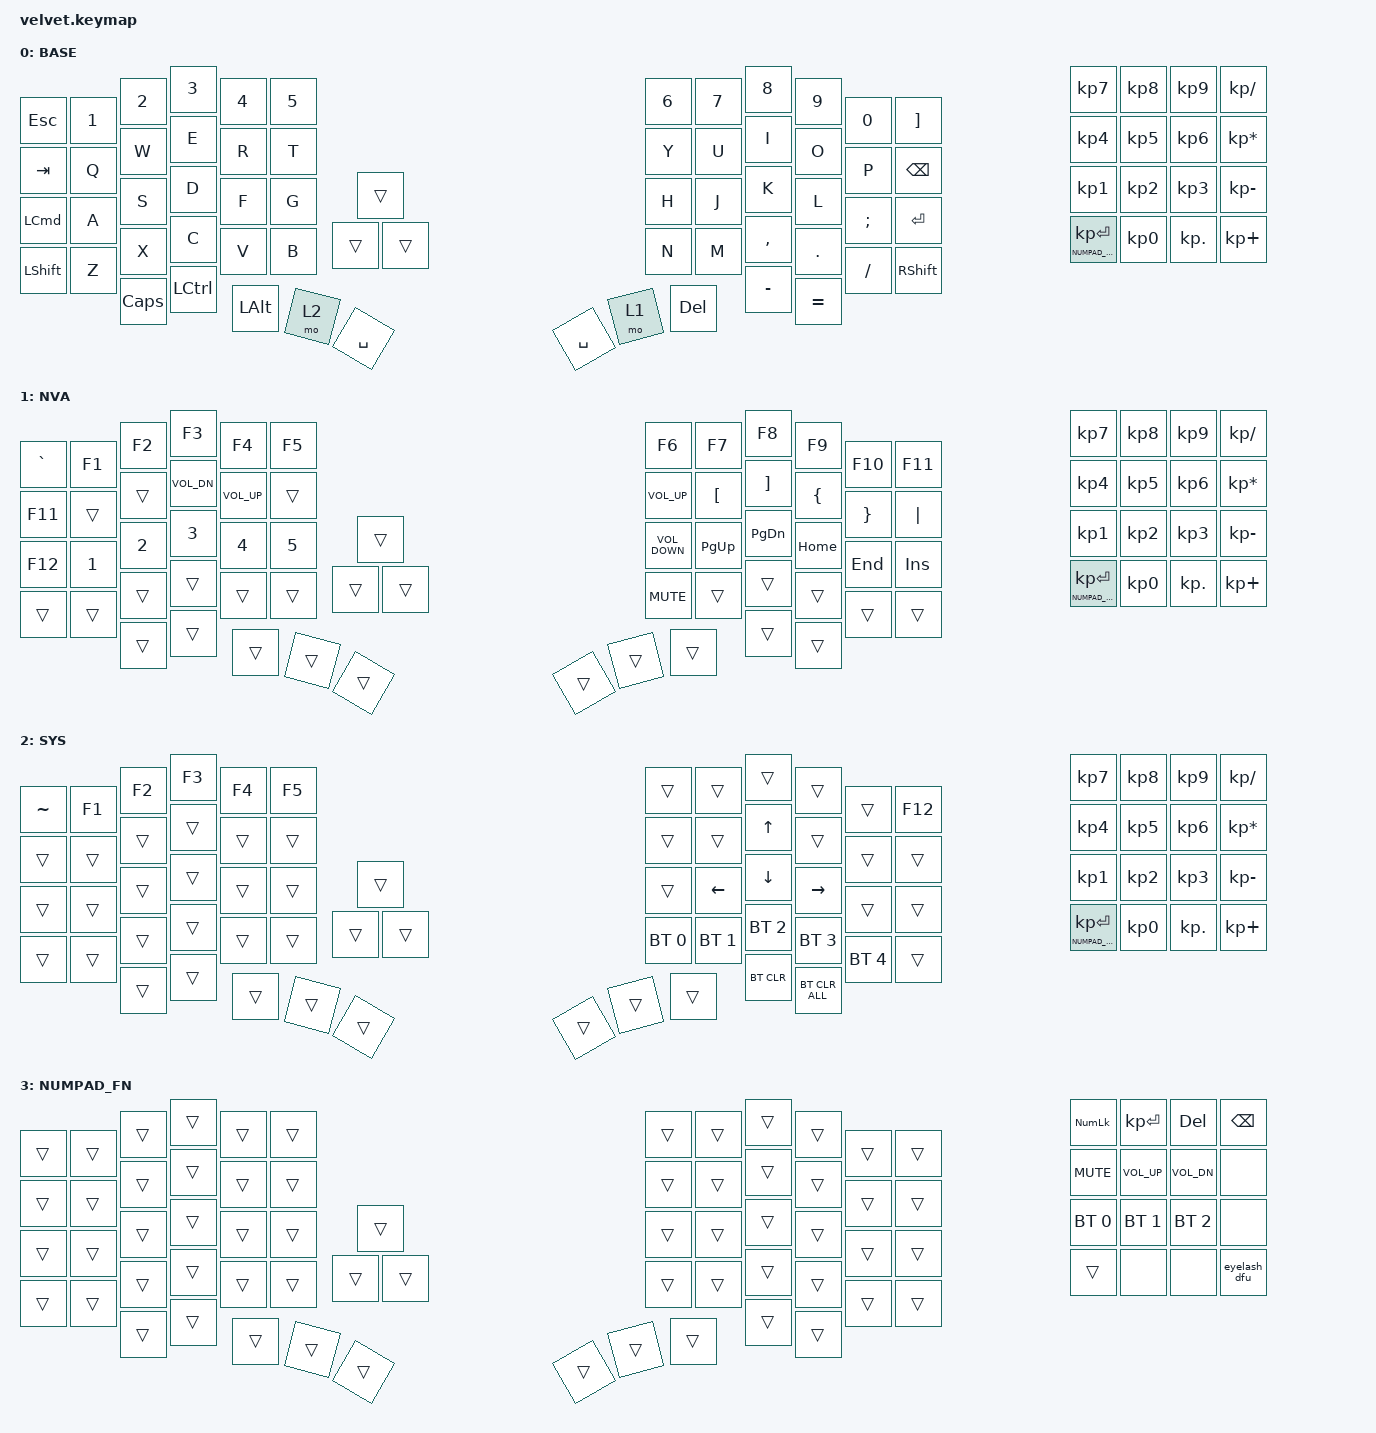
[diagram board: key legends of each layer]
#define BASE 0
#define LOWER 1
#define NUMPAD_FN 3

#include <behaviors/runtime_macro.dtsi>
#include <behaviors.dtsi>
#include <behaviors/eyelash_dfu.dtsi>
#include <dt-bindings/zmk/bt.h>
#include <dt-bindings/zmk/keys.h>

/ {
    behaviors {
        ltq: ltq {
            compatible = "zmk,behavior-hold-tap";
            label = "LTQ";
            bindings = <&mo>, <&kp>;

            #binding-cells = <2>;
            tapping-term-ms = <200>;
            quick-tap-ms = <180>;
        };
        td_m_pwd: td_m_pwd {
            compatible = "zmk,behavior-tap-dance";
            label = "TD_M_PWD";
            #binding-cells = <0>;

            // 1 tap: m
            // 2 taps: password + Enter
            bindings = <&kp M>, <&none>;

            tapping-term-ms = <200>;
        };
    };

    combos {
        compatible = "zmk,combos";

        flash {
            bindings = <&bootloader>;
            key-positions = <0 11>;
        };
    };


    keymap {
        compatible = "zmk,keymap";

        BASE {
            bindings = <
&kp ESC    &kp N1        &kp N2            &kp N3        &kp N4  &kp N5                &kp NUMBER_6  &kp N7  &kp N8      &kp N9     &kp N0     &kp RIGHT_BRACKET
&kp TAB    &kp Q         &kp W             &kp E         &kp R   &kp T      &trans     &kp Y         &kp U   &kp I       &kp O      &kp P      &kp BACKSPACE
&kp LCMD   &kp A         &kp S             &kp D         &kp F   &kp G      &trans     &kp H         &kp J   &kp K       &kp L      &kp SEMI   &kp ENTER
&kp LSHFT  &kp Z         &kp X             &kp C         &kp V   &kp B      &trans     &kp N         &kp M   &kp COMMA   &kp DOT    &kp SLASH  &kp RIGHT_SHIFT
           &kp CAPSLOCK  &kp LEFT_CONTROL  &kp LEFT_ALT  &mo 2   &kp SPACE             &kp SPACE     &mo 1   &kp DELETE  &kp MINUS  &kp EQUAL

                /* Numpad 61..76: identical on all existing Velvet layers. */
                &kp KP_N7 &kp KP_N8 &kp KP_N9 &kp KP_DIVIDE
                &kp KP_N4 &kp KP_N5 &kp KP_N6 &kp KP_MULTIPLY
                &kp KP_N1 &kp KP_N2 &kp KP_N3 &kp KP_MINUS
                &lt NUMPAD_FN KP_ENTER &kp KP_N0 &kp KP_DOT &kp KP_PLUS
            >;

            label = "BASE";
        };

        NVA {
            bindings = <
&kp GRAVE  &kp F1  &kp F2  &kp F3        &kp F4           &kp F5          &kp F6             &kp F7            &kp F8             &kp F9          &kp F10          &kp F11
&kp F11    &trans  &trans  &kp C_VOL_DN  &kp C_VOLUME_UP  &trans  &trans  &kp C_VOLUME_UP    &kp LEFT_BRACKET  &kp RIGHT_BRACKET  &kp LEFT_BRACE  &kp RIGHT_BRACE  &kp PIPE
&kp F12    &kp N1  &kp N2  &kp N3        &kp N4           &kp N5  &trans  &kp C_VOLUME_DOWN  &kp PAGE_UP       &kp PAGE_DOWN      &kp HOME        &kp END          &kp INSERT
&trans     &trans  &trans  &trans        &trans           &trans  &trans  &kp C_MUTE         &trans            &trans             &trans          &trans           &trans
           &trans  &trans  &trans        &trans           &trans          &trans             &trans            &trans             &trans          &trans

                /* Numpad 61..76: identical on all existing Velvet layers. */
                &kp KP_N7 &kp KP_N8 &kp KP_N9 &kp KP_DIVIDE
                &kp KP_N4 &kp KP_N5 &kp KP_N6 &kp KP_MULTIPLY
                &kp KP_N1 &kp KP_N2 &kp KP_N3 &kp KP_MINUS
                &lt NUMPAD_FN KP_ENTER &kp KP_N0 &kp KP_DOT &kp KP_PLUS
            >;

        };

        SYS {
            bindings = <
&kp TILDE  &kp F1  &kp F2  &kp F3  &kp F4  &kp F5          &trans        &trans        &trans        &trans        &trans          &kp F12
&trans     &trans  &trans  &trans  &trans  &trans  &trans  &trans        &trans        &kp UP_ARROW  &trans        &trans          &trans
&trans     &trans  &trans  &trans  &trans  &trans  &trans  &trans        &kp LEFT      &kp DOWN      &kp RIGHT     &trans          &trans
&trans     &trans  &trans  &trans  &trans  &trans  &trans  &bt BT_SEL 0  &bt BT_SEL 1  &bt BT_SEL 2  &bt BT_SEL 3  &bt BT_SEL 4    &trans
           &trans  &trans  &trans  &trans  &trans          &trans        &trans        &trans        &bt BT_CLR    &bt BT_CLR_ALL

                /* Numpad 61..76: identical on all existing Velvet layers. */
                &kp KP_N7 &kp KP_N8 &kp KP_N9 &kp KP_DIVIDE
                &kp KP_N4 &kp KP_N5 &kp KP_N6 &kp KP_MULTIPLY
                &kp KP_N1 &kp KP_N2 &kp KP_N3 &kp KP_MINUS
                &lt NUMPAD_FN KP_ENTER &kp KP_N0 &kp KP_DOT &kp KP_PLUS
            >;

        };
        numpad_fn {
            label = "NUMPAD_FN";
            bindings = <
                &trans &trans &trans &trans &trans &trans &trans &trans &trans &trans &trans &trans
                &trans &trans &trans &trans &trans &trans &trans &trans &trans &trans &trans &trans
                &trans &trans &trans &trans &trans &trans &trans &trans &trans &trans &trans &trans
                &trans &trans &trans &trans &trans &trans &trans &trans &trans &trans &trans &trans
                &trans &trans &trans &trans &trans &trans &trans &trans &trans &trans &trans &trans
                &trans
                /* Transparent prefix preserves held Velvet layer state. */
                &kp KP_NUMLOCK &kp KP_ENTER &kp DELETE &kp BACKSPACE
                &kp C_MUTE &kp C_VOL_UP &kp C_VOL_DN &none
                &bt BT_SEL 0 &bt BT_SEL 1 &bt BT_SEL 2 &none
                &trans &none &none &eyelash_dfu
            >;
        };
    };
};
